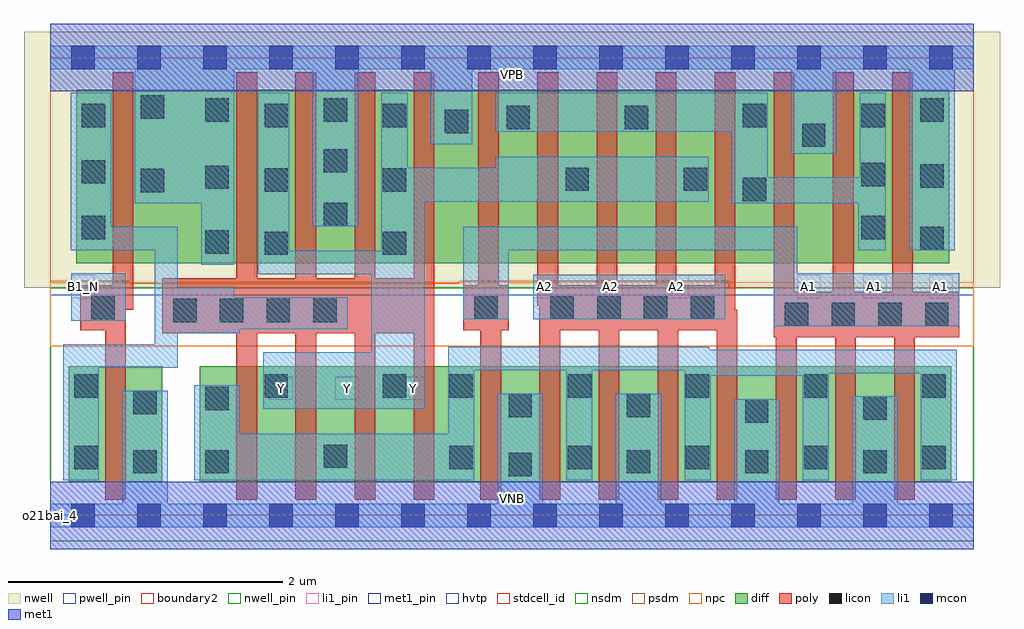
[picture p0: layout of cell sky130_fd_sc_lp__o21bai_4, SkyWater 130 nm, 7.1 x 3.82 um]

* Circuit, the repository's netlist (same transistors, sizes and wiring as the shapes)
* Copyright 2020 The SkyWater PDK Authors
*
* Licensed under the Apache License, Version 2.0 (the "License");
* you may not use this file except in compliance with the License.
* You may obtain a copy of the License at
*
*     https://www.apache.org/licenses/LICENSE-2.0
*
* Unless required by applicable law or agreed to in writing, software
* distributed under the License is distributed on an "AS IS" BASIS,
* WITHOUT WARRANTIES OR CONDITIONS OF ANY KIND, either express or implied.
* See the License for the specific language governing permissions and
* limitations under the License.
*
* SPDX-License-Identifier: Apache-2.0

.SUBCKT sky130_fd_sc_lp__o21bai_4 A1 A2 B1_N VGND VNB VPB VPWR Y
*.PININFO A1:I A2:I B1_N:I VGND:I VNB:I VPB:I VPWR:I Y:O
MMPA0 VPWR A1 sndA1 VPB sky130_fd_pr__pfet_01v8_hvt m=4 w=1.26U l=0.15U mult=1
+ sa=0.265 sb=0.265 sd=0.28 area=0.063 perim=1.14
MMPA1 sndA1 A2 Y VPB sky130_fd_pr__pfet_01v8_hvt m=4 w=1.26U l=0.15U mult=1 sa=0.265
+ sb=0.265 sd=0.28 area=0.063 perim=1.14
MMPB0 VPWR B1 Y VPB sky130_fd_pr__pfet_01v8_hvt m=4 w=1.26U l=0.15U mult=1 sa=0.265
+ sb=0.265 sd=0.28 area=0.063 perim=1.14
MMIPB1N B1 B1_N VPWR VPB sky130_fd_pr__pfet_01v8_hvt m=1 w=1.26U l=0.15U mult=1
+ sa=0.265 sb=0.265 sd=0.28 area=0.063 perim=1.14
MMNA0 pndA A1 VGND VNB sky130_fd_pr__nfet_01v8 m=4 w=0.84U l=0.15U mult=1 sa=0.265
+ sb=0.265 sd=0.28 area=0.063 perim=1.14
MMNA1 pndA A2 VGND VNB sky130_fd_pr__nfet_01v8 m=4 w=0.84U l=0.15U mult=1 sa=0.265
+ sb=0.265 sd=0.28 area=0.063 perim=1.14
MMNB0 Y B1 pndA VNB sky130_fd_pr__nfet_01v8 m=4 w=0.84U l=0.15U mult=1 sa=0.265
+ sb=0.265 sd=0.28 area=0.063 perim=1.14
MMINB1N B1 B1_N VGND VNB sky130_fd_pr__nfet_01v8 m=1 w=0.84U l=0.15U mult=1 sa=0.265
+ sb=0.265 sd=0.28 area=0.063 perim=1.14
.ENDS sky130_fd_sc_lp__o21bai_4

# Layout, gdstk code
import gdstk
lib = gdstk.Library(unit=1e-6, precision=1e-09)
def R(c, l, rs):  # rectangles x0, y0, x1, y1
    for r in rs: c.add(gdstk.rectangle(r[:2], r[2:], *l))
def A(c, l, x, y, w, h, nx, ny, dx, dy):  # array of equal rectangles
    R(c, l, [(x+i*dx, y+j*dy, x+i*dx+w, y+j*dy+h) for i in range(nx) for j in range(ny)])
def P(c, l, *ps):  # polygons
    for p in ps: c.add(gdstk.Polygon(p, *l))
nwell_pin = (64, 16)
nwell = (64, 20)
diff = (65, 20)
poly = (66, 20)
licon = (66, 44)
li1_pin = (67, 16)
li1 = (67, 20)
mcon = (67, 44)
met1_pin = (68, 16)
met1 = (68, 20)
hvtp = (78, 44)
stdcell_id = (81, 4)
nsdm = (93, 44)
psdm = (94, 20)
npc = (95, 20)
pwell_pin = (122, 16)
boundary2 = (236, 0)

sky130_fd_sc_lp__o21bai_ = lib.new_cell('sky130_fd_sc_lp__o21bai_4')
R(sky130_fd_sc_lp__o21bai_, nwell_pin, [(0,3.085,6.72,3.33)])
R(sky130_fd_sc_lp__o21bai_, nwell, [(-0.19,1.655,6.91,3.52)])
R(sky130_fd_sc_lp__o21bai_, diff, [(0.135,0.245,0.815,1.085), (1.09,0.245,6.555,1.085), (0.19,1.835,6.54,3.095)])
P(sky130_fd_sc_lp__o21bai_, poly, [(0.605,3.225),(0.455,3.225),(0.455,1.675),(0.22,1.675),(0.22,1.345),(0.4,1.345),(0.4,0.115),(0.55,0.115),(0.55,1.495),(0.605,1.495)],
  [(6.615,1.625),(6.275,1.625),(6.275,3.225),(6.125,3.225),(6.125,1.625),(5.845,1.625),(5.845,3.225),(5.695,3.225),(5.695,1.625),(5.415,1.625),(5.415,3.225),(5.265,3.225),(5.265,1.295),(5.28,1.295),(5.28,0.115),(5.43,0.115),(5.43,1.295),(5.71,1.295),(5.71,0.115),(5.86,0.115),(5.86,1.295),(6.14,1.295),(6.14,0.115),(6.29,0.115),(6.29,1.295),(6.615,1.295)],
  [(2.795,3.225),(2.645,3.225),(2.645,1.725),(2.365,1.725),(2.365,3.225),(2.215,3.225),(2.215,1.725),(1.935,1.725),(1.935,3.225),(1.785,3.225),(1.785,1.725),(1.505,1.725),(1.505,3.225),(1.355,3.225),(1.355,1.725),(0.815,1.725),(0.815,1.325),(1.355,1.325),(1.355,0.115),(1.505,0.115),(1.505,1.325),(1.785,1.325),(1.785,0.115),(1.935,0.115),(1.935,1.325),(2.215,1.325),(2.215,0.115),(2.365,0.115),(2.365,1.325),(2.645,1.325),(2.645,0.115),(2.795,0.115)],
  [(3.335,1.675),(3.265,1.675),(3.265,3.225),(3.115,3.225),(3.115,1.675),(3.005,1.675),(3.005,1.345),(3.13,1.345),(3.13,0.115),(3.28,0.115),(3.28,1.345),(3.335,1.345)],
  [(5,1.495),(4.985,1.495),(4.985,3.225),(4.835,3.225),(4.835,1.675),(4.555,1.675),(4.555,3.225),(4.405,3.225),(4.405,1.675),(4.125,1.675),(4.125,3.225),(3.975,3.225),(3.975,1.675),(3.695,1.675),(3.695,3.225),(3.545,3.225),(3.545,1.525),(3.56,1.525),(3.56,0.115),(3.71,0.115),(3.71,1.345),(3.99,1.345),(3.99,0.115),(4.14,0.115),(4.14,1.345),(4.42,1.345),(4.42,0.115),(4.57,0.115),(4.57,1.345),(4.85,1.345),(4.85,0.115),(5,0.115)])
A(sky130_fd_sc_lp__o21bai_, licon, 4.195, 0.305, 0.17, 0.17, 3, 1, 0.86, 0)
A(sky130_fd_sc_lp__o21bai_, licon, 2.905, 0.335, 0.17, 0.17, 5, 2, 0.86, 0.52)
A(sky130_fd_sc_lp__o21bai_, licon, 5.345, 1.375, 0.17, 0.17, 4, 1, 0.34, 0)
A(sky130_fd_sc_lp__o21bai_, licon, 0.895, 1.405, 0.17, 0.17, 4, 1, 0.34, 0)
A(sky130_fd_sc_lp__o21bai_, licon, 3.64, 1.425, 0.17, 0.17, 4, 1, 0.34, 0)
R(sky130_fd_sc_lp__o21bai_, licon, [(3.335,0.285,3.505,0.455), (0.605,0.305,0.775,0.475), (1.13,0.305,1.3,0.475), (0.175,0.335,0.345,0.505), (1.99,0.345,2.16,0.515), (5.055,0.675,5.225,0.845), (5.915,0.695,6.085,0.865), (3.335,0.715,3.505,0.885), (4.195,0.715,4.365,0.885), (0.605,0.735,0.775,0.905), (1.13,0.765,1.3,0.935), (0.175,0.855,0.345,1.025), (1.56,0.855,1.73,1.025), (2.42,0.855,2.59,1.025), (0.3,1.425,0.47,1.595), (3.085,1.425,3.255,1.595), (1.56,1.895,1.73,2.065), (2.42,1.895,2.59,2.065), (1.13,1.905,1.3,2.075), (6.33,1.93,6.5,2.1), (0.23,2.01,0.4,2.18), (5.9,2.01,6.07,2.18), (1.99,2.105,2.16,2.275), (5.04,2.285,5.21,2.455), (0.66,2.35,0.83,2.52), (1.56,2.355,1.73,2.525), (2.42,2.355,2.59,2.525), (3.75,2.36,3.92,2.53), (4.61,2.36,4.78,2.53), (1.13,2.375,1.3,2.545), (6.33,2.385,6.5,2.555), (5.9,2.395,6.07,2.565), (0.23,2.415,0.4,2.585), (1.99,2.495,2.16,2.665), (5.47,2.68,5.64,2.85), (2.87,2.78,3.04,2.95), (3.32,2.81,3.49,2.98), (4.18,2.81,4.35,2.98), (0.23,2.825,0.4,2.995), (1.56,2.825,1.73,2.995), (2.42,2.825,2.59,2.995), (5.04,2.825,5.21,2.995), (5.9,2.825,6.07,2.995), (1.13,2.865,1.3,3.035), (1.99,2.865,2.16,3.035), (6.33,2.865,6.5,3.035), (0.66,2.885,0.83,3.055)])
A(sky130_fd_sc_lp__o21bai_, li1_pin, 1.595, 0.84, 0.17, 0.17, 3, 1, 0.48, 0)
A(sky130_fd_sc_lp__o21bai_, li1_pin, 3.515, 1.58, 0.17, 0.17, 3, 1, 0.48, 0)
A(sky130_fd_sc_lp__o21bai_, li1_pin, 5.435, 1.58, 0.17, 0.17, 3, 1, 0.48, 0)
R(sky130_fd_sc_lp__o21bai_, li1_pin, [(0.155,1.58,0.325,1.75)])
R(sky130_fd_sc_lp__o21bai_, li1, [(0.155,1.415,0.55,1.76), (3.515,1.425,4.91,1.75)])
P(sky130_fd_sc_lp__o21bai_, li1, [(6.615,1.76),(5.435,1.76),(5.435,2.1),(3.005,2.1),(3.005,1.425),(3.335,1.425),(3.335,1.93),(5.265,1.93),(5.265,1.375),(6.615,1.375)],
  [(6.72,0.085),(6.165,0.085),(6.165,0.865),(5.835,0.865),(5.835,0.085),(5.305,0.085),(5.305,0.845),(4.975,0.845),(4.975,0.085),(4.445,0.085),(4.445,0.885),(4.115,0.885),(4.115,0.085),(3.585,0.085),(3.585,0.885),(3.255,0.885),(3.255,0.085),(0.855,0.085),(0.855,0.905),(0.525,0.905),(0.525,0.085),(0,0.085),(0,-0.085),(6.72,-0.085)],
  [(6.72,3.415),(0,3.415),(0,3.245),(0.615,3.245),(0.615,2.27),(1.1,2.27),(1.1,1.825),(1.34,1.825),(1.34,3.245),(1.91,3.245),(1.91,2.105),(2.24,2.105),(2.24,3.245),(2.77,3.245),(2.77,2.7),(3.07,2.7),(3.07,3.245),(5.39,3.245),(5.39,2.63),(5.72,2.63),(5.72,3.245),(6.25,3.245),(6.25,1.93),(6.58,1.93),(6.58,3.245),(6.72,3.245)],
  [(2.165,1.585),(1.34,1.585),(1.34,1.655),(0.93,1.655),(0.93,2.1),(0.445,2.1),(0.445,3.075),(0.15,3.075),(0.15,1.93),(0.76,1.93),(0.76,1.245),(0.095,1.245),(0.095,0.255),(0.355,0.255),(0.355,1.075),(0.93,1.075),(0.93,1.325),(1.38,1.325),(1.38,1.355),(2.165,1.355)],
  [(6.08,3.075),(5.89,3.075),(5.89,2.46),(5.22,2.46),(5.22,3.075),(3.24,3.075),(3.24,2.79),(4.96,2.79),(4.96,2.27),(5.88,2.27),(5.88,1.93),(6.08,1.93)],
  [(6.595,1.205),(4.795,1.205),(4.795,1.225),(2.895,1.225),(2.895,0.595),(1.38,0.595),(1.38,0.945),(1.05,0.945),(1.05,0.255),(3.085,0.255),(3.085,1.055),(3.755,1.055),(3.755,0.255),(3.945,0.255),(3.945,1.055),(4.615,1.055),(4.615,0.255),(4.805,0.255),(4.805,1.015),(5.475,1.015),(5.475,0.255),(5.665,0.255),(5.665,1.035),(6.335,1.035),(6.335,0.255),(6.595,0.255)],
  [(4.79,2.61),(3.24,2.61),(3.24,2.53),(2.6,2.53),(2.6,3.075),(2.41,3.075),(2.41,1.925),(1.74,1.925),(1.74,3.075),(1.51,3.075),(1.51,1.755),(2.335,1.755),(2.335,1.185),(1.55,1.185),(1.55,0.775),(2.725,0.775),(2.725,2.28),(4.79,2.28)])
A(sky130_fd_sc_lp__o21bai_, mcon, 0.155, -0.085, 0.17, 0.17, 14, 2, 0.48, 3.33)
R(sky130_fd_sc_lp__o21bai_, met1_pin, [(0,0,6.72,0.245), (0,3.085,6.72,3.33)])
R(sky130_fd_sc_lp__o21bai_, met1, [(0,-0.245,6.72,0.245), (0,3.085,6.72,3.575)])
R(sky130_fd_sc_lp__o21bai_, hvtp, [(0,1.6,6.72,3.33)])
R(sky130_fd_sc_lp__o21bai_, stdcell_id, [(0,0,6.72,3.33)])
R(sky130_fd_sc_lp__o21bai_, nsdm, [(0,-0.19,6.72,1.655)])
P(sky130_fd_sc_lp__o21bai_, psdm, [(6.72,3.52),(0,3.52),(0,1.705),(0.58,1.705),(0.58,1.685),(2.975,1.685),(2.975,1.705),(4.94,1.705),(4.94,1.655),(6.72,1.655)])
R(sky130_fd_sc_lp__o21bai_, npc, [(0,1.23,6.72,1.695)])
R(sky130_fd_sc_lp__o21bai_, pwell_pin, [(0,0,6.72,0.245)])
R(sky130_fd_sc_lp__o21bai_, boundary2, [(0,0,6.72,3.33)])
sky130_fd_sc_lp__o21bai_.add(gdstk.Label('VNB', (3.36,0.123), layer=64, texttype=59))
sky130_fd_sc_lp__o21bai_.add(gdstk.Label('VPB', (3.36,3.208), layer=64, texttype=5))
sky130_fd_sc_lp__o21bai_.add(gdstk.Label('o21bai_4', (0,0), layer=83, texttype=44))
sky130_fd_sc_lp__o21bai_.add(gdstk.Label('VPWR', (3.36,3.208), layer=68, texttype=5))
sky130_fd_sc_lp__o21bai_.add(gdstk.Label('VGND', (3.36,0.123), layer=68, texttype=5))
sky130_fd_sc_lp__o21bai_.add(gdstk.Label('Y', (1.68,0.925), layer=67, texttype=5))
sky130_fd_sc_lp__o21bai_.add(gdstk.Label('Y', (2.16,0.925), layer=67, texttype=5))
sky130_fd_sc_lp__o21bai_.add(gdstk.Label('Y', (2.64,0.925), layer=67, texttype=5))
sky130_fd_sc_lp__o21bai_.add(gdstk.Label('B1_N', (0.24,1.665), layer=67, texttype=5))
sky130_fd_sc_lp__o21bai_.add(gdstk.Label('A1', (5.52,1.665), layer=67, texttype=5))
sky130_fd_sc_lp__o21bai_.add(gdstk.Label('A1', (6,1.665), layer=67, texttype=5))
sky130_fd_sc_lp__o21bai_.add(gdstk.Label('A1', (6.48,1.665), layer=67, texttype=5))
sky130_fd_sc_lp__o21bai_.add(gdstk.Label('A2', (3.6,1.665), layer=67, texttype=5))
sky130_fd_sc_lp__o21bai_.add(gdstk.Label('A2', (4.08,1.665), layer=67, texttype=5))
sky130_fd_sc_lp__o21bai_.add(gdstk.Label('A2', (4.56,1.665), layer=67, texttype=5))

lib.write_gds('sky130_fd_sc_lp__o21bai_4.gds')
